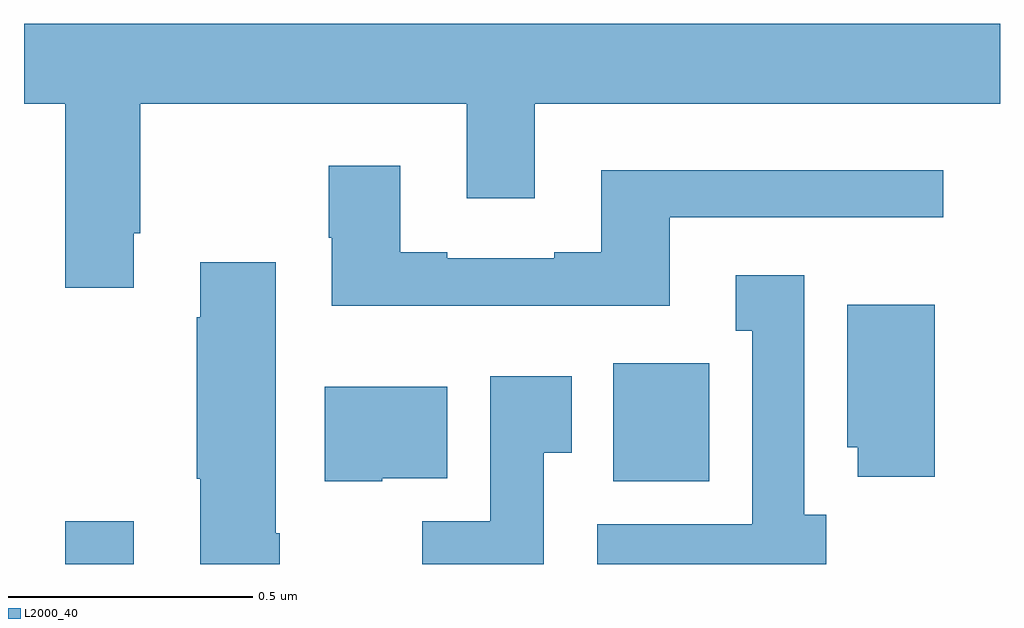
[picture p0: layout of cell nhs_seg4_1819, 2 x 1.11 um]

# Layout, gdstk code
import gdstk
lib = gdstk.Library(unit=1e-6, precision=1e-09)
def R(c, l, rs):  # rectangles x0, y0, x1, y1
    for r in rs: c.add(gdstk.rectangle(r[:2], r[2:], *l))
def P(c, l, *ps):  # polygons
    for p in ps: c.add(gdstk.Polygon(p, *l))
L2000_40 = (2000, 40)

nhs_seg4_1819 = lib.new_cell('nhs_seg4_1819')
R(nhs_seg4_1819, L2000_40, [(133.085,771.9,133.225,771.988), (134.207,772.07,134.404,772.312)])
P(nhs_seg4_1819, L2000_40, [(133.225,772.579),(133.238,772.579),(133.238,772.844),(133.907,772.844),(133.907,772.65),(134.047,772.65),(134.047,772.844),(135,772.844),(135,773.008),(133,773.008),(133,772.844),(133.085,772.844),(133.085,772.467),(133.225,772.467)],
  [(134.323,772.611),(134.884,772.611),(134.884,772.708),(134.183,772.708),(134.183,772.54),(134.087,772.54),(134.087,772.527),(133.867,772.527),(133.867,772.54),(133.771,772.54),(133.771,772.717),(133.624,772.717),(133.624,772.569),(133.631,772.569),(133.631,772.43),(134.323,772.43)],
  [(133.524,771.964),(133.516,771.964),(133.516,772.519),(133.361,772.519),(133.361,772.406),(133.354,772.406),(133.354,772.075),(133.361,772.075),(133.361,771.9),(133.524,771.9)],
  [(134.644,772.002),(134.599,772.002),(134.599,772.492),(134.459,772.492),(134.459,772.379),(134.492,772.379),(134.492,771.982),(134.175,771.982),(134.175,771.9),(134.644,771.9)],
  [(134.866,772.432),(134.687,772.432),(134.687,772.14),(134.708,772.14),(134.708,772.08),(134.866,772.08)],
  [(134.065,772.129),(134.122,772.129),(134.122,772.285),(133.955,772.285),(133.955,771.988),(133.816,771.988),(133.816,771.9),(134.065,771.9)],
  [(133.734,772.076),(133.867,772.076),(133.867,772.264),(133.616,772.264),(133.616,772.07),(133.734,772.07)])

lib.write_gds('nhs_seg4_1819.gds')
